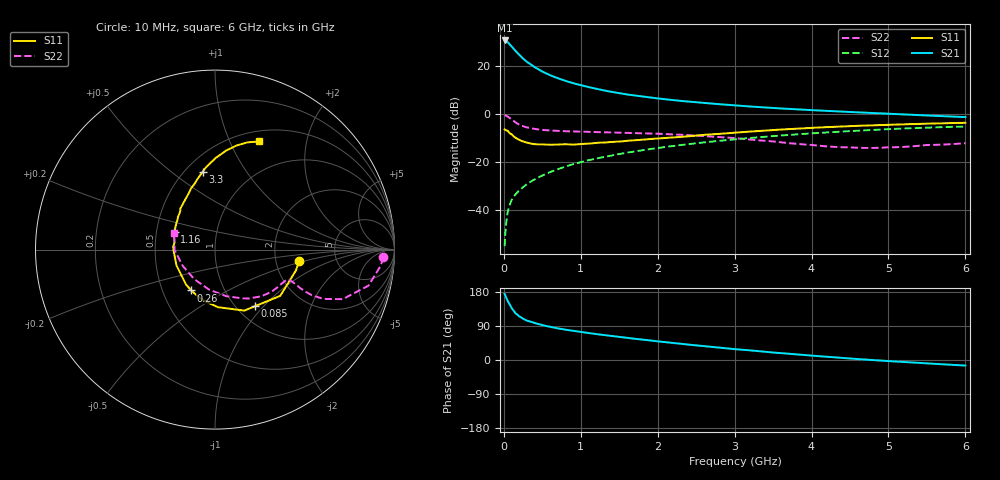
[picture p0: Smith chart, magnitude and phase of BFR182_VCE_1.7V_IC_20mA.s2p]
! Infineon Technologies  Discrete & RF Semiconductors
! BFR182
! VCE =  1.7 V,  IC =  20 mA
! Common Emitter S-Parameters:  Nov 2015
# GHz  S  MA  R  50
!  f  S11  S21  S12  S22
! GHz  MAG  ANG  MAG  ANG  MAG  ANG  MAG  ANG
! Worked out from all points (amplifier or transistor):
!   210 points, 10 MHz to 6 GHz, reference 50 ohm
!   highest |S21| = 30.4 dB at 10 MHz (marker M1)
!   |S21| within 3 dB of that: start of sweep to 116.3 MHz
!   unconditionally stable (mu >= 1): 417.2 MHz to 2.692 GHz
!   at 185 MHz: K = 0.76, MSG = 28.6 dB, |S12| = -32.3 dB
!   at 1.52 GHz: K = 1.08, MAG = 10.8 dB, |S12| = -16.6 dB
!   at 6 GHz: K = 0.93, MSG = 1.9 dB, |S12| = -5.3 dB
!   S11 on the Smith chart (normalised r, x): 10 MHz: 2.72, -0.44; 85 MHz: 1.21, -0.90; 260 MHz: 0.70, -0.34; 1.16 GHz: 0.62, +0.13; 3.3 GHz: 0.61, +0.65; 6 GHz: 0.62, +1.29
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0.01  0.4739 -7.6  33.05 174.7  0.0018 94.5  0.9389 -2.6
0.02  0.4654 -14.6  32.62 169.4  0.0034 80.6  0.9273 -5.6
0.05  0.4456 -35.3  30.55 155.3  0.0091 78.8  0.8786 -13.2
0.085  0.3864 -54.6  26.46 143.2  0.0141 72.7  0.7962 -18.6
0.1  0.3772 -64.3  25.15 136.9  0.0162 71.2  0.7633 -21.2
0.15  0.3213 -87.2  20.17 123.5  0.0212 67.8  0.662 -24.5
0.2  0.2895 -103.5  16.62 115.2  0.0258 69.2  0.596 -25.2
0.26  0.2631 -120.1  13.47 107.9  0.031 69.7  0.5456 -24.8
0.3  0.2532 -129.6  11.88 103.9  0.0347 70.3  0.5205 -24.3
0.4  0.2341 -145.3  9.239 97.4  0.0437 71.5  0.4834 -23.1
0.5  0.2321 -157.5  7.484 91.8  0.0524 72.2  0.4625 -22.5
0.7  0.2298 -176.3  5.458 83.4  0.0708 73.0  0.4409 -22.6
0.8  0.2339 176.2  4.793 80.0  0.0804 72.5  0.4346 -22.9
1.02  0.2373 163.3  3.836 73.5  0.1009 72.0  0.4248 -24.7
1.16  0.2456 156.2  3.408 69.6  0.114 71.3  0.4192 -26.3
1.6  0.2754 138.3  2.512 58.2  0.1563 68.0  0.4033 -32.3
2.02  0.3083 126.0  2.062 48.8  0.1968 64.3  0.3844 -39.3
3.1  0.4163 102.2  1.45 27.1  0.3043 52.8  0.3016 -63.3
3.3  0.4381 99.1  1.38 23.6  0.3241 50.5  0.2824 -69.5
4.1  0.5194 88.2  1.166 10.0  0.4012 40.7  0.2172 -103.1
5.1  0.5976 77.3  0.987 -4.0  0.4873 27.5  0.2027 -159.0
6  0.6497 68.0  0.852 -14.7  0.5439 14.8  0.2455 158.4
